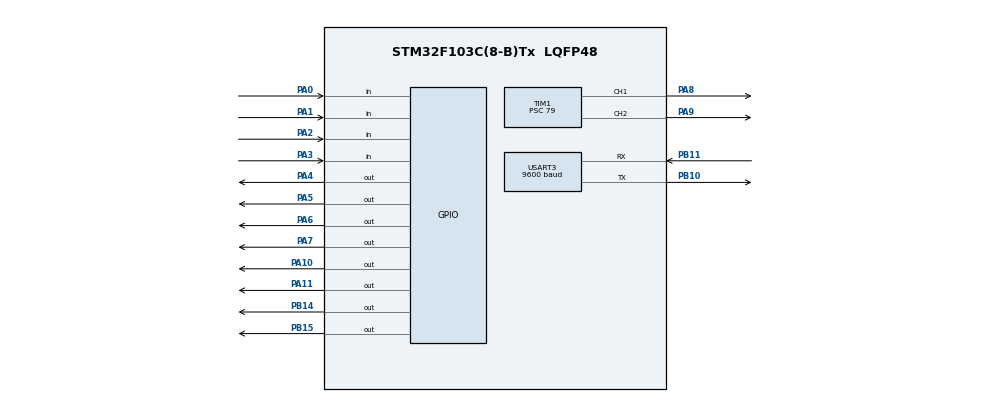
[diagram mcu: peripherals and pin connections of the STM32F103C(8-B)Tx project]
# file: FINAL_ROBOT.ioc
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Mcu.Family=STM32F1
Mcu.Name=STM32F103C(8-B)Tx
Mcu.Package=LQFP48
NVIC.PriorityGroup=NVIC_PRIORITYGROUP_4
NVIC.TIM1_UP_IRQn=true\:0\:0\:false\:false\:true\:true\:true
NVIC.USART3_IRQn=true\:0\:0\:false\:false\:true\:true\:true
PA0-WKUP.Signal=GPIO_Input
PA1.Signal=GPIO_Input
PA10.Signal=GPIO_Output
PA11.Signal=GPIO_Output
PA13.Mode=Serial_Wire
PA13.Signal=SYS_JTMS-SWDIO
PA14.Mode=Serial_Wire
PA14.Signal=SYS_JTCK-SWCLK
PA2.Signal=GPIO_Input
PA3.Signal=GPIO_Input
PA4.Signal=GPIO_Output
PA5.Signal=GPIO_Output
PA6.Signal=GPIO_Output
PA7.Signal=GPIO_Output
PA8.Signal=S_TIM1_CH1
PA9.Signal=S_TIM1_CH2
PB10.Mode=Asynchronous
PB10.Signal=USART3_TX
PB11.Mode=Asynchronous
PB11.Signal=USART3_RX
PB14.Signal=GPIO_Output
PB15.Signal=GPIO_Output
ProjectManager.HeapSize=0x200
ProjectManager.StackSize=0x400
ProjectManager.TargetToolchain=MDK-ARM V5.27
RCC.APB1Freq_Value=8000000
RCC.APB2Freq_Value=8000000
SH.S_TIM1_CH1.0=TIM1_CH1,PWM Generation1 CH1
SH.S_TIM1_CH2.0=TIM1_CH2,PWM Generation2 CH2
TIM1.AutoReloadPreload=TIM_AUTORELOAD_PRELOAD_ENABLE
TIM1.Channel-PWM\ Generation1\ CH1=TIM_CHANNEL_1
TIM1.Channel-PWM\ Generation2\ CH2=TIM_CHANNEL_2
TIM1.Period=199
TIM1.Prescaler=79
TIM1.Pulse-PWM\ Generation1\ CH1=500
TIM1.Pulse-PWM\ Generation2\ CH2=500
USART3.BaudRate=9600
USART3.VirtualMode=VM_ASYNC
VP_TIM1_VS_ClockSourceINT.Mode=Internal
board=custom

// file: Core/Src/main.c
/* USER CODE BEGIN Header */
/**
  ******************************************************************************
  * @file           : main.c
  * @brief          : Main program body
  ******************************************************************************
  * @attention
  *
  * <h2><center>&copy; Copyright (c) 2020 STMicroelectronics.
  * All rights reserved.</center></h2>
  *
  * This software component is licensed by ST under BSD 3-Clause license,
  * the "License"; You may not use this file except in compliance with the
  * License. You may obtain a copy of the License at:
  *                        opensource.org/licenses/BSD-3-Clause
  *
  ******************************************************************************
  */
/* USER CODE END Header */
#include "main.h"
#include "tim.h"
#include "usart.h"
#include "gpio.h"

/* USER CODE BEGIN PM */
char data[1];
/* USER CODE END PM */

void SystemClock_Config(void);

int main(void)
{

  /* MCU Configuration--------------------------------------------------------*/

  /* Reset of all peripherals, Initializes the Flash interface and the Systick. */
  HAL_Init();

  /* Configure the system clock */
  SystemClock_Config();

  /* Initialize all configured peripherals */
  MX_GPIO_Init();
  MX_TIM1_Init();
  MX_USART3_UART_Init();
  /* USER CODE BEGIN 2 */
	HAL_UART_Receive_IT(&huart3, data, 1);
	HAL_TIM_PWM_Start(&htim1, TIM_CHANNEL_1);
	HAL_TIM_PWM_Start(&htim1, TIM_CHANNEL_2);
  /* USER CODE END 2 */

  /* Infinite loop */
  while (1)
  {

    /* USER CODE BEGIN 3 */
 if( data[0] == 'f')
	  {
			HAL_GPIO_WritePin(GPIOA, GPIO_PIN_4, 1);
			HAL_GPIO_WritePin(GPIOA, GPIO_PIN_5, 1);
			HAL_GPIO_WritePin(GPIOA, GPIO_PIN_6, 1);
			HAL_GPIO_WritePin(GPIOA, GPIO_PIN_7, 1);
		}
	  if( data[0] =='b')
	  {
		HAL_GPIO_TogglePin(GPIOA, GPIO_PIN_4);
		HAL_GPIO_TogglePin(GPIOA, GPIO_PIN_5);
		HAL_GPIO_TogglePin(GPIOA, GPIO_PIN_6);
		HAL_GPIO_TogglePin(GPIOA, GPIO_PIN_7);
		HAL_Delay(100);
		}
	  if( data[0] == 'l')
	  {
		HAL_GPIO_TogglePin(GPIOA, GPIO_PIN_6);
		HAL_GPIO_TogglePin(GPIOA, GPIO_PIN_7);
		HAL_Delay(100);
		}
	  if(data[0]== 'r')
	  {
		HAL_GPIO_TogglePin(GPIOA, GPIO_PIN_4);
		HAL_GPIO_TogglePin(GPIOA, GPIO_PIN_5);
		HAL_Delay(100);
		}

  }
  /* USER CODE END 3 */
}

void SystemClock_Config(void)
{
  RCC_OscInitTypeDef RCC_OscInitStruct = {0};
  RCC_ClkInitTypeDef RCC_ClkInitStruct = {0};

  /** Initializes the RCC Oscillators according to the specified parameters
  * in the RCC_OscInitTypeDef structure.
  */
  RCC_OscInitStruct.OscillatorType = RCC_OSCILLATORTYPE_HSI;
  RCC_OscInitStruct.HSIState = RCC_HSI_ON;
  RCC_OscInitStruct.HSICalibrationValue = RCC_HSICALIBRATION_DEFAULT;
  RCC_OscInitStruct.PLL.PLLState = RCC_PLL_NONE;
  if (HAL_RCC_OscConfig(&RCC_OscInitStruct) != HAL_OK)
  {
    Error_Handler();
  }
  /** Initializes the CPU, AHB and APB buses clocks
  */
  RCC_ClkInitStruct.ClockType = RCC_CLOCKTYPE_HCLK|RCC_CLOCKTYPE_SYSCLK
                              |RCC_CLOCKTYPE_PCLK1|RCC_CLOCKTYPE_PCLK2;
  RCC_ClkInitStruct.SYSCLKSource = RCC_SYSCLKSOURCE_HSI;
  RCC_ClkInitStruct.AHBCLKDivider = RCC_SYSCLK_DIV1;
  RCC_ClkInitStruct.APB1CLKDivider = RCC_HCLK_DIV1;
  RCC_ClkInitStruct.APB2CLKDivider = RCC_HCLK_DIV1;

  if (HAL_RCC_ClockConfig(&RCC_ClkInitStruct, FLASH_LATENCY_0) != HAL_OK)
  {
    Error_Handler();
  }
}

/* USER CODE BEGIN 4 */
void HAL_UART_RxCpltCallback(UART_HandleTypeDef *huart)
	{

		 HAL_UART_Receive_IT(&huart3, data, 1);
		 if( data[0] == 'i')
	  {
		stop();
		}
	  if( data[0] == 'f')
	  {
		straight();
			HAL_GPIO_TogglePin(GPIOA,GPIO_PIN_4);

		}
	  if( data[0] =='b')
	  {
		back();

		}
	  if( data[0] == 'l')
	  {
		left();

		}
	  if(data[0]== 'r')
	  {
		right();

		}
	  if(data[0] == 's')
	  {
		nitro();
		}

	}
/* USER CODE END 4 */

void Error_Handler(void)
{
}

/************************ (C) COPYRIGHT STMicroelectronics *****END OF FILE****/
